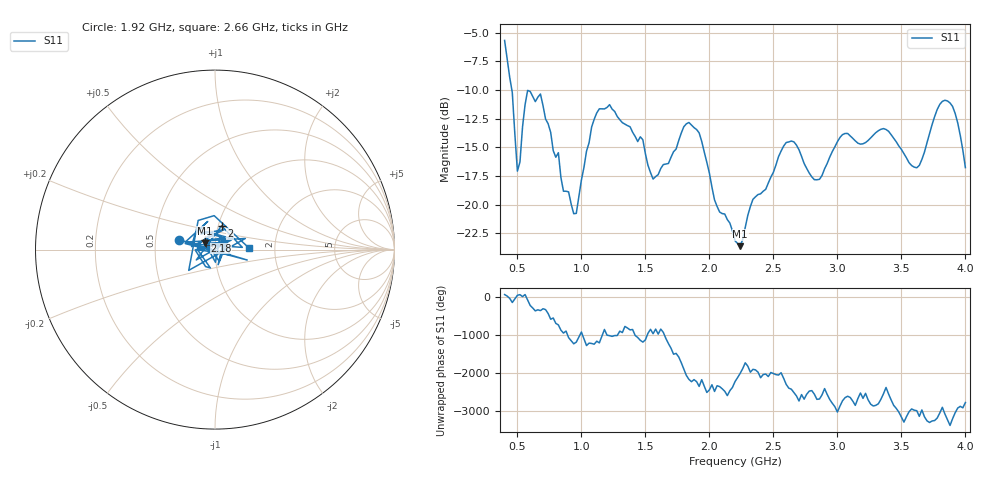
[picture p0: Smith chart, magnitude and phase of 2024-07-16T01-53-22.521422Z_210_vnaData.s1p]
!Created with skrf (http://scikit-rf.org).
# Hz S RI R 50.0
!freq ReS11 ImS11
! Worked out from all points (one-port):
!   181 points, 400 MHz to 4 GHz, reference 50 ohm
!   lowest |S11| = -23.6 dB at 2.24 GHz (marker M1), VSWR 1.14, Z = 44.6 + j3.15 ohm
!   |S11| at or under -10 dB: 456.6 MHz to end of sweep
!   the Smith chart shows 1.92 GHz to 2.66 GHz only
!   S11 on the Smith chart (normalised r, x): 1.92 GHz: 0.67, +0.08; 2 GHz: 1.04, +0.28; 2.18 GHz: 0.89, +0.09; 2.66 GHz: 1.46, +0.03
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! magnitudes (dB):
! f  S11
! 400 MHz  -5.7
! 460 MHz  -10.2
! 500 MHz  -17.1
! 580 MHz  -10.0
! 680 MHz  -10.4
! 820 MHz  -15.5
! 860 MHz  -18.8
! 960 MHz  -20.8
! 1.12 GHz  -12.0
! 1.3 GHz  -12.6
! 1.48 GHz  -14.3
! 1.56 GHz  -17.8
! 1.76 GHz  -14.4
! 1.92 GHz  -13.8
! 2 GHz  -17.3
! 2.18 GHz  -22.3
! 2.2 GHz  -23.2
! 2.24 GHz  -23.6
! 2.34 GHz  -19.5
! 2.66 GHz  -14.5
! 2.84 GHz  -17.8
! 3.1 GHz  -14.0
! 3.38 GHz  -13.5
! 3.56 GHz  -16.4
! 3.64 GHz  -16.6
! 3.84 GHz  -10.9
! 3.92 GHz  -12.0
! 4 GHz  -16.8
